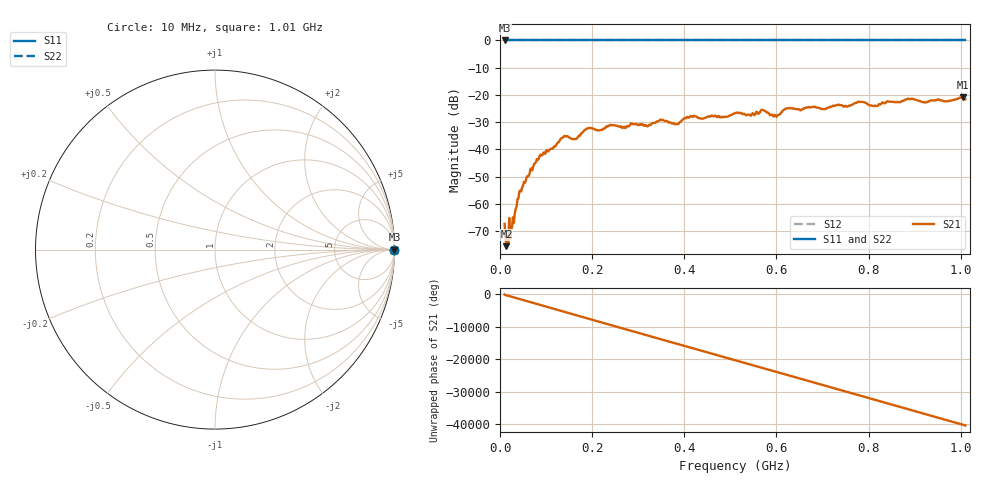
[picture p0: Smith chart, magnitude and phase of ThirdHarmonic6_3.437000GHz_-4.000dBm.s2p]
! 8/17/2025 11:04:04 AM
! C:\ANRITSUVNA\TEMP\TEMP.S2P
! CHANNEL.1
! TR.MEASUREMENT
! RAW.DATA
! RF.CORRECTION.OFF
! AVERAGING.OFF
! IF.BANDWIDTH: 5KHZ
! SWEEPTYPE:  FREQ.SWEEP(Linear)
! Reference Plane Port Info
! PORT:  PORT1  PORT2
! DISTANCE:  0  m  0  m
! TIME:  0  s  0  s
! PHASE.OFFSET:  0  deg.  0  deg.
! LOSS:  0  dB  0  dB
! REF.LOSS:  0  dB  0  dB
! REF.FREQ:  0  Hz  0  Hz
! Power Info
! POWER:  -20  dBm  -20  dBm
! EFF.POWER:  -20  dBm  -20  dBm
! SOURCE.ATTEN:  0  dB  0  dB
! TEST.ATTEN:  0  dB  0  dB
# GHZ S RI R 50.0
! FREQ.GHZ  S11RE  S11IM  S21RE  S21IM  S12RE  S12IM  S22RE  S22IM
!; PortSelection: Port_12
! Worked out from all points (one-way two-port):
!   501 points, 10 MHz to 1.01 GHz, reference 50 ohm
!   highest |S21| = -20.93 dB at 1.004 GHz (marker M1); lowest = -75.5 dB at 14 MHz (marker M2)
!   lowest |S11| = 0.0 dB at 10 MHz (marker M3)
!   |S11| at or under -10 dB: nowhere
!   |S22| runs from 0.0 to 0.0 dB; largest |S21 - S12| = 1.1
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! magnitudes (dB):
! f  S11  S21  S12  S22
! 10 MHz  0.0  -67.3  0.0  0.0
! 14 MHz  0.0  -75.5  0.0  0.0
! 26 MHz  0.0  -68.6  0.0  0.0
! 38 MHz  0.0  -58.2  0.0  0.0
! 46 MHz  0.0  -55.4  0.0  0.0
! 84 MHz  0.0  -43.4  0.0  0.0
! 136 MHz  0.0  -35.7  0.0  0.0
! 162 MHz  0.0  -36.1  0.0  0.0
! 178 MHz  0.0  -33.9  0.0  0.0
! 192 MHz  0.0  -32.1  0.0  0.0
! 322 MHz  0.0  -31.2  0.0  0.0
! 344 MHz  0.0  -29.6  0.0  0.0
! 384 MHz  0.0  -30.7  0.0  0.0
! 410 MHz  0.0  -28.3  0.0  0.0
! 510 MHz  0.0  -26.6  0.0  0.0
! 570 MHz  0.0  -25.5  0.0  0.0
! 598 MHz  0.0  -27.5  0.0  0.0
! 622 MHz  0.0  -25.0  0.0  0.0
! 678 MHz  0.0  -24.4  0.0  0.0
! 844 MHz  0.0  -22.4  0.0  0.0
! 1.004 GHz  0.0  -20.9  0.0  0.0
! 1.01 GHz  0.0  -21.5  0.0  0.0
